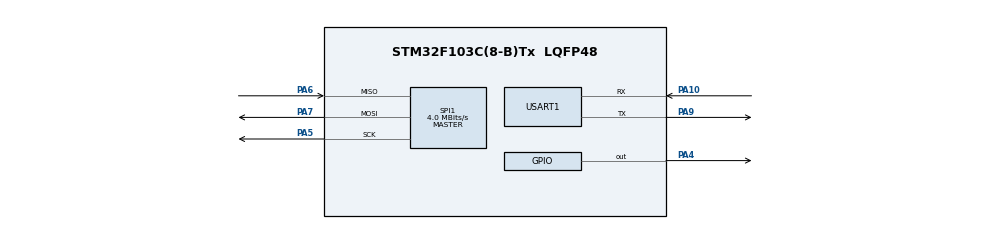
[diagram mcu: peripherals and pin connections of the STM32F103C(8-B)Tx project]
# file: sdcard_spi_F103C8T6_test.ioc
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FATFS._MAX_SS=4096
FATFS._USE_LFN=1
Mcu.Family=STM32F1
Mcu.Name=STM32F103C(8-B)Tx
Mcu.Package=LQFP48
NVIC.PriorityGroup=NVIC_PRIORITYGROUP_4
PA10.Mode=Asynchronous
PA10.Signal=USART1_RX
PA13.Mode=Serial_Wire
PA13.Signal=SYS_JTMS-SWDIO
PA14.Mode=Serial_Wire
PA14.Signal=SYS_JTCK-SWCLK
PA4.Signal=GPIO_Output
PA5.Mode=Full_Duplex_Master
PA5.Signal=SPI1_SCK
PA6.Mode=Full_Duplex_Master
PA6.Signal=SPI1_MISO
PA7.Mode=Full_Duplex_Master
PA7.Signal=SPI1_MOSI
PA9.Mode=Asynchronous
PA9.Signal=USART1_TX
PD0-OSC_IN.Mode=HSE-External-Oscillator
PD0-OSC_IN.Signal=RCC_OSC_IN
PD1-OSC_OUT.Mode=HSE-External-Oscillator
PD1-OSC_OUT.Signal=RCC_OSC_OUT
ProjectManager.HeapSize=0x200
ProjectManager.StackSize=0x400
ProjectManager.TargetToolchain=STM32CubeIDE
RCC.APB1Freq_Value=8000000
RCC.APB2Freq_Value=8000000
SPI1.CalculateBaudRate=4.0 MBits/s
SPI1.Direction=SPI_DIRECTION_2LINES
SPI1.Mode=SPI_MODE_MASTER
SPI1.VirtualType=VM_MASTER
USART1.VirtualMode=VM_ASYNC
VP_FATFS_VS_Generic.Mode=User_defined
board=custom

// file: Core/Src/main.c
/* USER CODE BEGIN Header */
/**
  ******************************************************************************
  * @file           : main.c
  * @brief          : Main program body
  ******************************************************************************
  * @attention
  *
  * Copyright (c) 2023 STMicroelectronics.
  * All rights reserved.
  *
  * This software is licensed under terms that can be found in the LICENSE file
  * in the root directory of this software component.
  * If no LICENSE file comes with this software, it is provided AS-IS.
  *
  ******************************************************************************
  */
/* USER CODE END Header */
#include "main.h"
#include "fatfs.h"

/* USER CODE BEGIN Includes */
#include <string.h>
/* USER CODE END Includes */

/* USER CODE BEGIN PD */
FATFS fs;
FIL fil;
FATFS *pfs;
DWORD fre_clust;
uint32_t totalSpace, freeSpace;
char info[50];
/* USER CODE END PD */

SPI_HandleTypeDef hspi1;

UART_HandleTypeDef huart1;

void SystemClock_Config(void);
static void MX_GPIO_Init(void);
static void MX_SPI1_Init(void);
static void MX_USART1_UART_Init(void);

int main(void)
{

  /* MCU Configuration--------------------------------------------------------*/

  /* Reset of all peripherals, Initializes the Flash interface and the Systick. */
  HAL_Init();

  /* Configure the system clock */
  SystemClock_Config();

  /* Initialize all configured peripherals */
  MX_GPIO_Init();
  MX_SPI1_Init();
  MX_FATFS_Init();
  MX_USART1_UART_Init();
  /* USER CODE BEGIN 2 */
  HAL_Delay(500);
  f_mount(&fs, "", 0);
  f_open(&fil, "write.txt", FA_OPEN_ALWAYS | FA_WRITE | FA_READ);
  sprintf(info,"WRITE.TXT\r\n");
  HAL_UART_Transmit(&huart1, info, strlen(info), 0xffff);

  HAL_Delay(500);
  f_lseek(&fil, fil.fsize);
  f_puts("Hello from Nizar\n", &fil);
  sprintf(info,"Hello from Nizar\r\n");
  HAL_UART_Transmit(&huart1, info, strlen(info), 0xffff);
  f_close(&fil);

  f_getfree("", &fre_clust, &pfs);
  totalSpace = (uint32_t)((pfs->n_fatent - 2) * pfs->csize * 0.5);
  freeSpace = (uint32_t)(fre_clust * pfs->csize * 0.5);
  sprintf(info,"TotalSpace = %d\tFreeSpace = %d\r\n", totalSpace, freeSpace);
  HAL_UART_Transmit(&huart1, info, strlen(info), 0xffff);

  char buffer[100];
  f_open(&fil, "read.txt", FA_READ);
  while(f_gets(buffer, sizeof(buffer), &fil))
  {
    // Can use the buffer for something useful
	sprintf(info,"%s\r",buffer);
	HAL_UART_Transmit(&huart1, info, strlen(info), 0xffff);
    memset(buffer,0,sizeof(buffer));
  }
  f_close(&fil);
  /* USER CODE END 2 */

  /* Infinite loop */
  while (1)
  {
	  HAL_UART_Transmit(&huart1, "While loop\n\r", 20, 0xffff);
	  HAL_Delay(1000);
  }
}

void SystemClock_Config(void)
{
  RCC_OscInitTypeDef RCC_OscInitStruct = {0};
  RCC_ClkInitTypeDef RCC_ClkInitStruct = {0};

  /** Initializes the RCC Oscillators according to the specified parameters
  * in the RCC_OscInitTypeDef structure.
  */
  RCC_OscInitStruct.OscillatorType = RCC_OSCILLATORTYPE_HSI;
  RCC_OscInitStruct.HSIState = RCC_HSI_ON;
  RCC_OscInitStruct.HSICalibrationValue = RCC_HSICALIBRATION_DEFAULT;
  RCC_OscInitStruct.PLL.PLLState = RCC_PLL_NONE;
  if (HAL_RCC_OscConfig(&RCC_OscInitStruct) != HAL_OK)
  {
    Error_Handler();
  }

  /** Initializes the CPU, AHB and APB buses clocks
  */
  RCC_ClkInitStruct.ClockType = RCC_CLOCKTYPE_HCLK|RCC_CLOCKTYPE_SYSCLK
                              |RCC_CLOCKTYPE_PCLK1|RCC_CLOCKTYPE_PCLK2;
  RCC_ClkInitStruct.SYSCLKSource = RCC_SYSCLKSOURCE_HSI;
  RCC_ClkInitStruct.AHBCLKDivider = RCC_SYSCLK_DIV1;
  RCC_ClkInitStruct.APB1CLKDivider = RCC_HCLK_DIV1;
  RCC_ClkInitStruct.APB2CLKDivider = RCC_HCLK_DIV1;

  if (HAL_RCC_ClockConfig(&RCC_ClkInitStruct, FLASH_LATENCY_0) != HAL_OK)
  {
    Error_Handler();
  }
}

static void MX_SPI1_Init(void)
{

  /* SPI1 parameter configuration*/
  hspi1.Instance = SPI1;
  hspi1.Init.Mode = SPI_MODE_MASTER;
  hspi1.Init.Direction = SPI_DIRECTION_2LINES;
  hspi1.Init.DataSize = SPI_DATASIZE_8BIT;
  hspi1.Init.CLKPolarity = SPI_POLARITY_LOW;
  hspi1.Init.CLKPhase = SPI_PHASE_1EDGE;
  hspi1.Init.NSS = SPI_NSS_SOFT;
  hspi1.Init.BaudRatePrescaler = SPI_BAUDRATEPRESCALER_2;
  hspi1.Init.FirstBit = SPI_FIRSTBIT_MSB;
  hspi1.Init.TIMode = SPI_TIMODE_DISABLE;
  hspi1.Init.CRCCalculation = SPI_CRCCALCULATION_DISABLE;
  hspi1.Init.CRCPolynomial = 10;
  if (HAL_SPI_Init(&hspi1) != HAL_OK)
  {
    Error_Handler();
  }

}

static void MX_USART1_UART_Init(void)
{

  huart1.Instance = USART1;
  huart1.Init.BaudRate = 115200;
  huart1.Init.WordLength = UART_WORDLENGTH_8B;
  huart1.Init.StopBits = UART_STOPBITS_1;
  huart1.Init.Parity = UART_PARITY_NONE;
  huart1.Init.Mode = UART_MODE_TX_RX;
  huart1.Init.HwFlowCtl = UART_HWCONTROL_NONE;
  huart1.Init.OverSampling = UART_OVERSAMPLING_16;
  if (HAL_UART_Init(&huart1) != HAL_OK)
  {
    Error_Handler();
  }

}

static void MX_GPIO_Init(void)
{
  GPIO_InitTypeDef GPIO_InitStruct = {0};

  /* GPIO Ports Clock Enable */
  __HAL_RCC_GPIOD_CLK_ENABLE();
  __HAL_RCC_GPIOA_CLK_ENABLE();

  /*Configure GPIO pin Output Level */
  HAL_GPIO_WritePin(GPIOA, GPIO_PIN_4, GPIO_PIN_RESET);

  /*Configure GPIO pin : PA4 */
  GPIO_InitStruct.Pin = GPIO_PIN_4;
  GPIO_InitStruct.Mode = GPIO_MODE_OUTPUT_PP;
  GPIO_InitStruct.Pull = GPIO_NOPULL;
  GPIO_InitStruct.Speed = GPIO_SPEED_FREQ_LOW;
  HAL_GPIO_Init(GPIOA, &GPIO_InitStruct);

}

void Error_Handler(void)
{
  __disable_irq();
  while (1)
  {
  }
}
